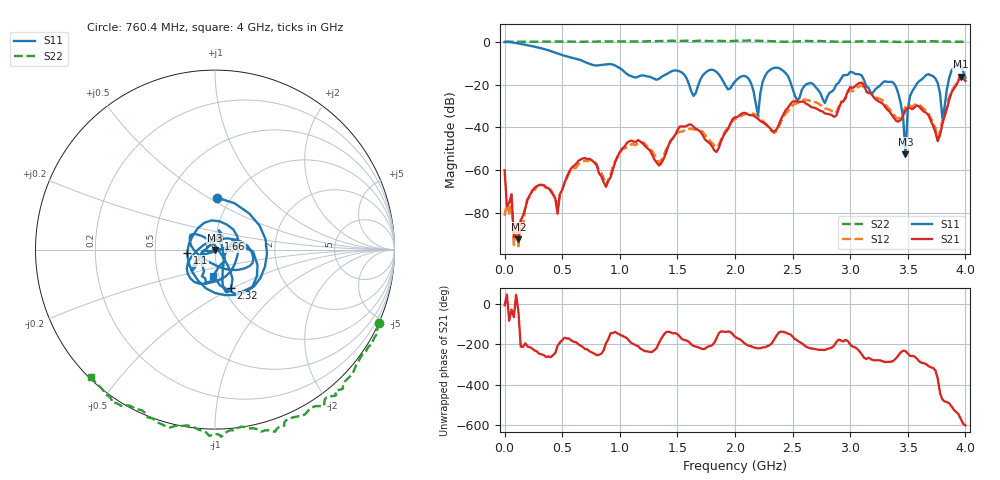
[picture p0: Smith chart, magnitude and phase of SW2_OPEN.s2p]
# Hz S DB R 50
! CMT, S5180, 51801906, 22.3.3/1
! Date: 27/01/2023 17:15:46
! Data: Format (Calibration Info)
! Freq	S11:dB/Ang(F2)	S21:dB/Ang(F2)	S12:dB/Ang(F2)	S22:dB/Ang(F2)
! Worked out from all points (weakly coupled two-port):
!   201 points, 500 kHz to 4 GHz, reference 50 ohm
!   highest |S21| = -16.29 dB at 3.96 GHz (marker M1); lowest = -92.3 dB at 120.5 MHz (marker M2)
!   lowest |S11| = -52.6 dB at 3.48 GHz (marker M3), VSWR 1.00, Z = 50 - j0.232 ohm
!   |S11| at or under -10 dB: 720.1 MHz to end of sweep
!   |S22| runs from -0.1 to 0.6 dB; largest |S21 - S12| = 0.15
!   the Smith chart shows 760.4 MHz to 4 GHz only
!   S11 on the Smith chart (normalised r, x): 760.4 MHz: 0.87, +0.55; 1.1 GHz: 0.73, -0.03; 1.66 GHz: 1.03, +0.12; 2.32 GHz: 1.08, -0.49; 4 GHz: 0.94, -0.28
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500000  -0.20 -2.0  -60.02 -7.6  -81.40 -60.1  0.01 -0.1
1.20485e8  -0.82 -106.9  -92.28 -37.2  -95.46 -67.4  -0.02 -3.7
2.80465e8  -2.57 111.9  -67.43 124.7  -67.82 119.2  0.03 -8.9
4.604425e8  -5.49 -36.8  -80.35 152.5  -77.32 139.2  0.06 -14.7
6.80415e8  -9.03 159.2  -54.47 146.0  -55.78 137.4  0.01 -22.0
7.60405e8  -10.76 87.5  -55.48 118.7  -55.55 114.3  0.02 -24.0
8.8039e8  -10.63 -18.7  -67.77 165.1  -67.07 151.6  0.14 -28.0
1.100362e9  -16.13 -173.5  -46.18 166.3  -47.89 156.2  0.11 -35.0
1.340332e9  -17.34 -35.1  -57.82 166.3  -56.55 143.7  0.27 -43.4
1.660292e9  -23.95 71.2  -40.56 148.5  -41.00 137.8  0.31 -53.9
2.00025e9  -18.61 -179.2  -35.26 -162.7  -36.10 170.0  0.41 -68.4
2.200225e9  -34.30 -9.7  -35.98 139.7  -34.62 119.4  0.42 -73.6
2.32021e9  -12.66 -67.9  -41.45 164.8  -41.85 128.2  0.16 -77.8
2.680165e9  -19.89 73.9  -30.79 138.6  -28.20 112.1  0.25 -90.3
3.340082e9  -18.79 10.7  -32.60 73.2  -31.34 27.1  0.06 -111.7
3.480065e9  -52.59 -98.3  -32.07 126.4  -30.42 77.9  -0.07 -116.7
3.500062e9  -31.55 -160.2  -30.60 114.8  -29.29 68.4  -0.08 -117.5
3.580052e9  -19.50 -149.2  -29.76 88.8  -28.90 56.3  0.08 -120.3
3.76003e9  -19.35 -151.9  -46.42 -10.2  -44.68 -48.3  0.09 -125.3
3.800025e9  -35.66 -126.7  -38.46 -113.2  -36.86 -160.3  0.09 -126.9
3.960005e9  -11.16 -64.4  -16.29 149.8  -15.79 92.6  -0.05 -132.8
4e9  -16.74 -94.0  -18.31 117.9  -15.84 72.0  -0.07 -134.2
